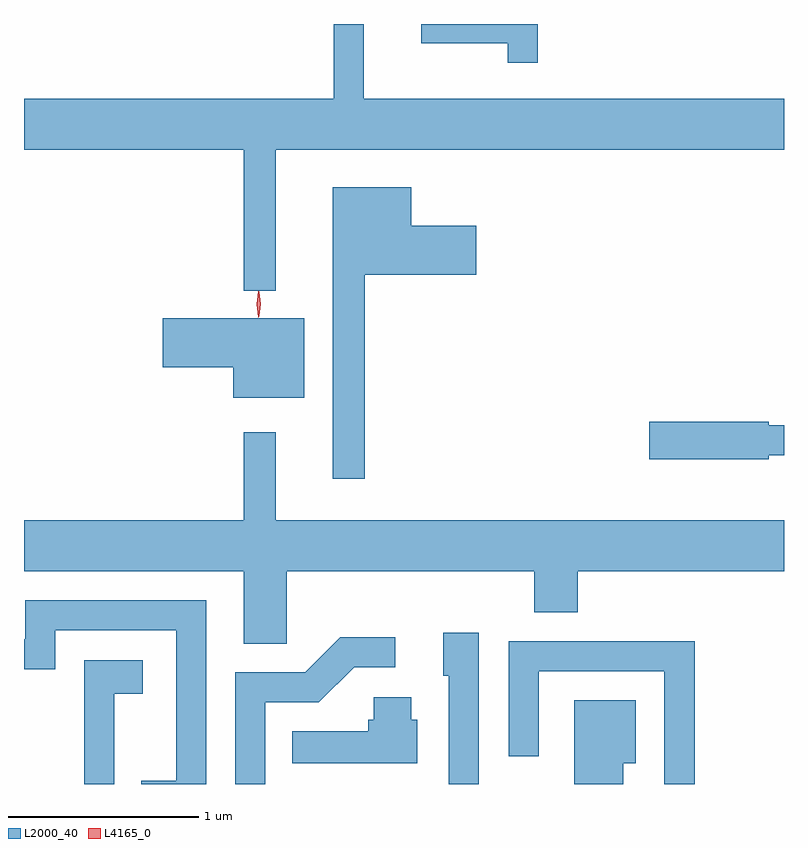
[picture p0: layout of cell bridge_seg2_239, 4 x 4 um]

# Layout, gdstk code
import gdstk
lib = gdstk.Library(unit=1e-6, precision=1e-09)
def P(c, l, *ps):  # polygons
    for p in ps: c.add(gdstk.Polygon(p, *l))
L2000_40 = (2000, 40)
L4165_0 = (4165, 0)

bridge_seg2_239 = lib.new_cell('bridge_seg2_239')
P(bridge_seg2_239, L2000_40, [(483.029,1066.076),(485.705,1066.076),(485.705,1066.344),(483.494,1066.344),(483.494,1066.737),(483.336,1066.737),(483.336,1066.344),(481.705,1066.344),(481.705,1066.076),(482.861,1066.076),(482.861,1065.333),(483.029,1065.333)],
  [(484.409,1066.737),(483.796,1066.737),(483.796,1066.636),(484.251,1066.636),(484.251,1066.533),(484.409,1066.533)],
  [(483.499,1065.416),(484.084,1065.416),(484.084,1065.674),(483.744,1065.674),(483.744,1065.879),(483.331,1065.879),(483.331,1064.343),(483.499,1064.343)],
  [(483.179,1065.189),(482.436,1065.189),(482.436,1064.931),(482.806,1064.931),(482.806,1064.771),(483.179,1064.771)],
  [(485.624,1064.466),(485.705,1064.466),(485.705,1064.624),(485.624,1064.624),(485.624,1064.644),(484.996,1064.644),(484.996,1064.446),(485.624,1064.446)],
  [(483.089,1063.856),(484.391,1063.856),(484.391,1063.641),(484.619,1063.641),(484.619,1063.856),(485.705,1063.856),(485.705,1064.124),(483.029,1064.124),(483.029,1064.588),(482.861,1064.588),(482.861,1064.124),(481.705,1064.124),(481.705,1063.856),(482.861,1063.856),(482.861,1063.476),(483.089,1063.476)],
  [(482.664,1063.704),(481.711,1063.704),(481.711,1063.499),(481.705,1063.499),(481.705,1063.341),(481.869,1063.341),(481.869,1063.546),(482.506,1063.546),(482.506,1062.754),(482.323,1062.754),(482.323,1062.737),(482.664,1062.737)],
  [(484.099,1063.534),(483.911,1063.534),(483.911,1063.306),(483.941,1063.306),(483.941,1062.737),(484.099,1062.737)],
  [(482.974,1063.166),(483.257,1063.166),(483.442,1063.351),(483.658,1063.351),(483.658,1063.509),(483.369,1063.509),(483.184,1063.324),(482.816,1063.324),(482.816,1062.737),(482.974,1062.737)],
  [(485.234,1063.489),(484.256,1063.489),(484.256,1062.883),(484.414,1062.883),(484.414,1063.331),(485.076,1063.331),(485.076,1062.737),(485.234,1062.737)],
  [(482.179,1063.211),(482.329,1063.211),(482.329,1063.389),(482.021,1063.389),(482.021,1062.737),(482.179,1062.737)],
  [(483.774,1063.074),(483.744,1063.074),(483.744,1063.194),(483.546,1063.194),(483.546,1063.074),(483.516,1063.074),(483.516,1063.014),(483.118,1063.014),(483.118,1062.846),(483.774,1062.846)],
  [(484.859,1062.846),(484.924,1062.846),(484.924,1063.179),(484.601,1063.179),(484.601,1062.737),(484.859,1062.737)])
P(bridge_seg2_239, L4165_0, [(482.939,1065.194),(482.939,1065.194),(482.929,1065.262),(482.939,1065.33),(482.939,1065.33),(482.94,1065.33),(482.949,1065.262),(482.94,1065.194)],
  [(482.942,1065.2),(482.942,1065.2),(482.932,1065.264),(482.942,1065.326),(482.942,1065.327),(482.943,1065.326),(482.952,1065.264),(482.943,1065.2)])

lib.write_gds('bridge_seg2_239.gds')
